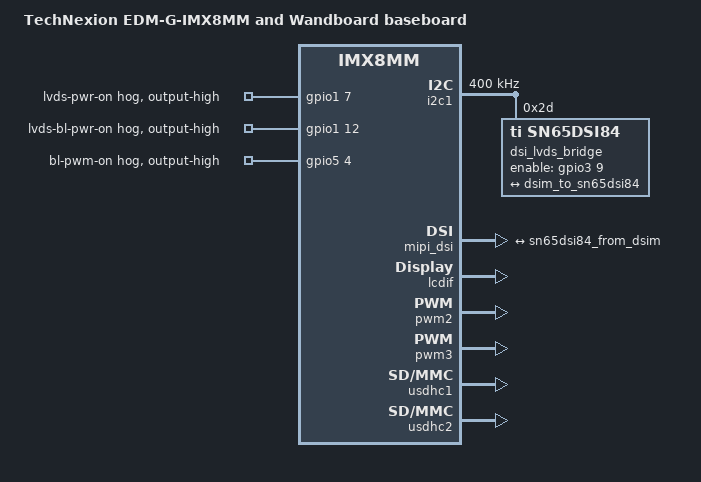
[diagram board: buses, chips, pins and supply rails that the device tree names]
/*
 * Copyright 2020 Technexion Ltd.
 * 
 * Author: Richard Hu <Richard.hu@technexion.com>
 *
 * This program is free software; you can redistribute it and/or
 * modify it under the terms of the GNU General Public License
 * as published by the Free Software Foundation; either version 2
 * of the License, or (at your option) any later version.
 *
 * This program is distributed in the hope that it will be useful,
 * but WITHOUT ANY WARRANTY; without even the implied warranty of
 * MERCHANTABILITY or FITNESS FOR A PARTICULAR PURPOSE.  See the
 * GNU General Public License for more details.
 */

/dts-v1/;

#include "imx8mm-edm-g.dtsi"

/ {
	model = "TechNexion EDM-G-IMX8MM and Wandboard baseboard";
	compatible = "fsl,imx8mm-edm-g", "fsl,imx8mm";


};

&gpio1 {
	lvds-pwr-on {
		pinctrl-names = "default";
		pinctrl-0 = <&pinctrl_lvds0_pwr>;
		gpio-hog;
		gpios = <7 GPIO_ACTIVE_HIGH>;
		output-high;
	};

	lvds-bl-pwr-on {
		pinctrl-names = "default";
		pinctrl-0 = <&pinctrl_lvds0_backlight_pwr>;
		gpio-hog;
		gpios = <12 GPIO_ACTIVE_HIGH>;
		output-high;
	};
};

&gpio5 {
	bl-pwm-on {
		pinctrl-names = "default";
		pinctrl-0 = <&pinctrl_lvds_bl_pwm>;
		gpio-hog;
		gpios = <4 GPIO_ACTIVE_HIGH>;
		output-high;
	};
};

&i2c1 {
	clock-frequency = <400000>;
	pinctrl-names = "default";
	pinctrl-0 = <&pinctrl_i2c1>;
	status = "okay";
	dsi_lvds_bridge: sn65dsi84@2d {
		reg = <0x2d>;
		compatible = "ti,sn65dsi84";
		#gpio-cells = <2>;
		dsi-lanes = <4>;
		pinctrl-0 = <&pinctrl_mipi_dsi_en>;
		enable-gpios = <&gpio3 9 GPIO_ACTIVE_HIGH>;

		status = "okay";

		port@2 {
			sn65dsi84_from_dsim: endpoint {
				remote-endpoint = <&dsim_to_sn65dsi84>;
			};
		};
	};
};

&mipi_dsi {

	status = "okay";
	#address-cells = <1>;
	#size-cells = <0>;

	port@2{
		dsim_to_sn65dsi84: endpoint {
			remote-endpoint = <&sn65dsi84_from_dsim>;
		};
	};
};


&lcdif {
	enable_polarity_low;	
	
	display = <&display0>;
	status = "okay";

	display0: display@0 {
		bits-per-pixel = <24>;
		bus-width = <24>;
	};
};

&pwm2 {
	status = "okay";
};

&pwm3 {
	status = "okay";
};


&usdhc1 {
	status = "okay";
};

&usdhc2 {
	status = "okay";
};

&usbotg1 {
	dr_mode = "peripheral";
	status = "disabled";
};

&usbotg2 {
	dr_mode = "host";
	status = "disabled";
};

